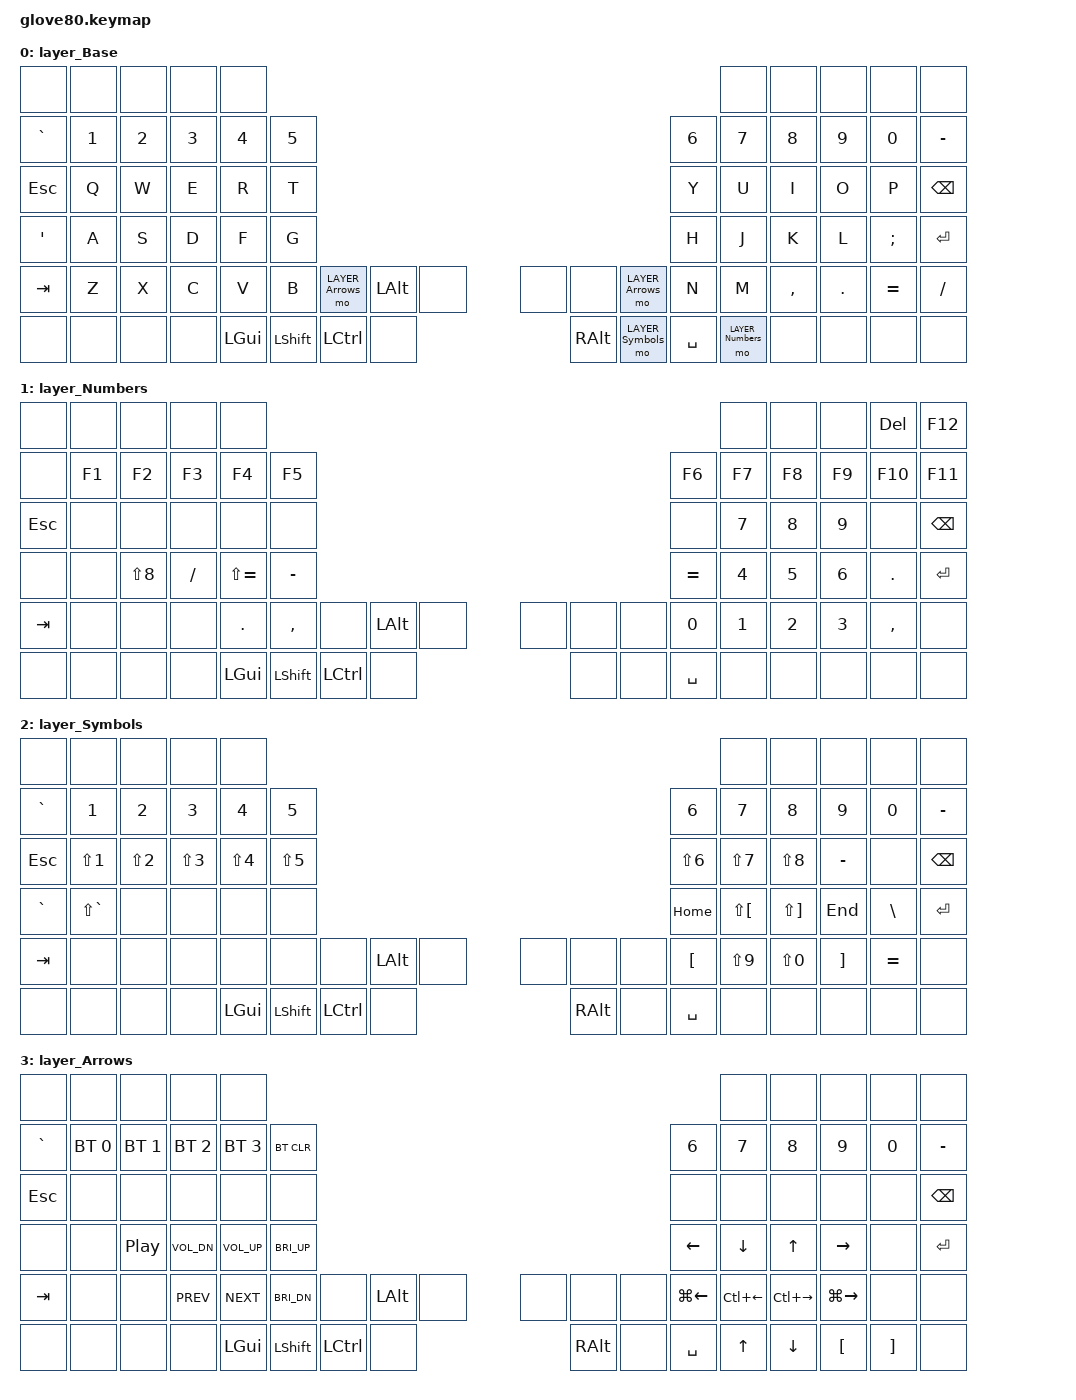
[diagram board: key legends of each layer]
/*
 * Copyright (c) 2020 The ZMK Contributors
 * Copyright (c) 2025 Innaworks Development Limited, trading as MoErgo
 *
 * SPDX-License-Identifier: MIT
 */


/* THIS FILE WAS GENERATED BY GLOVE80 LAYOUT EDITOR
 *
 * This file was generated automatically. You may or may not want to
 * edit it directly.
 */

#include <behaviors.dtsi>
/* Include all behavior includes needed */
#include <dt-bindings/zmk/outputs.h>
#include <dt-bindings/zmk/keys.h>
#include <dt-bindings/zmk/bt.h>
#include <dt-bindings/zmk/rgb.h>

/* On demand includes */


/* Helper Macros, based on https://github.com/urob/zmk-helpers/ */

#pragma once

#define ZMK_HELPER_STRINGIFY(x) #x

// Preprocessor mechanism to overload macros, cf. https://stackoverflow.com/a/27051616/6114651
#define VARGS_(_10, _9, _8, _7, _6, _5, _4, _3, _2, _1, N, ...) N
#define VARGS(...) VARGS_(__VA_ARGS__, 10, 9, 8, 7, 6, 5, 4, 3, 2, 1, 0)
#define CONCAT_(a, b) a##b
#define CONCAT(a, b) CONCAT_(a, b)

#define ZMK_BEHAVIOR_CORE_tap_dance  \
    compatible = "zmk,behavior-tap-dance"; \
    #binding-cells = <0>

#define ZMK_BEHAVIOR(name, type, ...) \
    name: name { \
        ZMK_BEHAVIOR_CORE_ ## type; \
        __VA_ARGS__ \
    };

#define ZMK_TAP_DANCE(name, ...) \
    ZMK_BEHAVIOR(name, tap_dance, __VA_ARGS__)

#define ZMK_TD_LAYER(name, layer) \
    ZMK_TAP_DANCE(name, \
        tapping-term-ms = <200>; \
        bindings = <&mo layer>, <&to layer>; \
)

/* Environment and metadata defines */
#define KB_TYPE_GLOVE_80 1
#define KB_TYPE_GO_60    2

#define KB_TYPE          KB_TYPE_GLOVE_80
#define EDITOR_HOST_OS   'L'

/* Automatically generated layer name defines */
#define LAYER_Base 0
#define LAYER_Numbers 1
#define LAYER_Symbols 2
#define LAYER_Arrows 3

/* To deal with the situation where there is no Lower layer, to keep &lower happy */
#ifndef LAYER_Lower
#define LAYER_Lower 0
#endif

/* Automatically generated combos definitions */


/* Automatically generated keymap */
/ {
    keymap {
        compatible = "zmk,keymap";


        layer_Base {
            bindings = <
     &none   &none   &none   &none     &none                                                                                                                  &none      &none    &none      &none      &none
 &kp GRAVE  &kp N1  &kp N2  &kp N3    &kp N4  &kp N5                                                                                      &kp N6             &kp N7     &kp N8   &kp N9     &kp N0  &kp MINUS
   &kp ESC   &kp Q   &kp W   &kp E     &kp R   &kp T                                                                                       &kp Y              &kp U      &kp I    &kp O      &kp P   &kp BSPC
   &kp SQT   &kp A   &kp S   &kp D     &kp F   &kp G                                                                                       &kp H              &kp J      &kp K    &kp L   &kp SEMI    &kp RET
   &kp TAB   &kp Z   &kp X   &kp C     &kp V   &kp B  &mo LAYER_Arrows   &kp LALT   &none     &none              &none  &mo LAYER_Arrows   &kp N              &kp M  &kp COMMA  &kp DOT  &kp EQUAL   &kp FSLH
     &none   &none   &none   &none  &kp LGUI                 &kp LSHFT  &kp LCTRL   &none  &kp RALT  &mo LAYER_Symbols         &kp SPACE          &mo LAYER_Numbers      &none    &none      &none      &none
            >;
        };

        layer_Numbers {
            bindings = <
   &none   &none       &none     &none          &none                                                                                 &none   &none   &none    &kp DEL   &kp F12
   &none  &kp F1      &kp F2    &kp F3         &kp F4     &kp F5                                                             &kp F6  &kp F7  &kp F8  &kp F9    &kp F10   &kp F11
 &kp ESC   &none       &none     &none          &none      &none                                                              &none  &kp N7  &kp N8  &kp N9      &none  &kp BSPC
   &none   &none  &kp LS(N8)  &kp FSLH  &kp LS(EQUAL)  &kp MINUS                                                          &kp EQUAL  &kp N4  &kp N5  &kp N6    &kp DOT   &kp RET
 &kp TAB   &none       &none     &none        &kp DOT  &kp COMMA      &none  &kp LALT   &none   &none   &none      &none     &kp N0  &kp N1  &kp N2  &kp N3  &kp COMMA     &none
   &none   &none       &none     &none       &kp LGUI             &kp LSHFT  &kp LCTRL   &none   &none   &none  &kp SPACE              &none   &none   &none      &none     &none
            >;
        };

        layer_Symbols {
            bindings = <
     &none          &none       &none       &none       &none                                                                                           &none         &none      &none      &none      &none
 &kp GRAVE         &kp N1      &kp N2      &kp N3      &kp N4      &kp N5                                                                &kp N6        &kp N7        &kp N8     &kp N9     &kp N0  &kp MINUS
   &kp ESC     &kp LS(N1)  &kp LS(N2)  &kp LS(N3)  &kp LS(N4)  &kp LS(N5)                                                            &kp LS(N6)    &kp LS(N7)    &kp LS(N8)  &kp MINUS      &none   &kp BSPC
 &kp GRAVE  &kp LS(GRAVE)       &none       &none       &none       &none                                                              &kp HOME  &kp LS(LBKT)  &kp LS(RBKT)    &kp END   &kp BSLH    &kp RET
   &kp TAB          &none       &none       &none       &none       &none      &none  &kp LALT   &none     &none   &none      &none    &kp LBKT    &kp LS(N9)    &kp LS(N0)   &kp RBKT  &kp EQUAL      &none
     &none          &none       &none       &none    &kp LGUI              &kp LSHFT  &kp LCTRL   &none  &kp RALT   &none  &kp SPACE                     &none         &none      &none      &none      &none
            >;
        };

        layer_Arrows {
            bindings = <
     &none       &none       &none         &none         &none                                                                                               &none          &none          &none     &none      &none
 &kp GRAVE  &bt BT_SEL 0  &bt BT_SEL 1    &bt BT_SEL 2    &bt BT_SEL 3    &bt BT_CLR                                                                  &kp N6        &kp N7         &kp N8         &kp N9    &kp N0  &kp MINUS
   &kp ESC       &none       &none         &none         &none         &none                                                                   &none         &none          &none          &none     &none   &kp BSPC
     &none       &none    &kp C_PP  &kp K_VOL_DN  &kp K_VOL_UP  &kp C_BRI_UP                                                                &kp LEFT      &kp DOWN         &kp UP      &kp RIGHT     &none    &kp RET
   &kp TAB       &none       &none    &kp C_PREV    &kp C_NEXT  &kp C_BRI_DN      &none  &kp LALT   &none     &none   &none      &none  &kp LG(LEFT)  &kp LC(LEFT)  &kp LC(RIGHT)  &kp LG(RIGHT)     &none      &none
     &none       &none       &none         &none      &kp LGUI                &kp LSHFT  &kp LCTRL   &none  &kp RALT   &none  &kp SPACE                      &kp UP       &kp DOWN       &kp LBKT  &kp RBKT      &none
            >;
        };

    };
};
